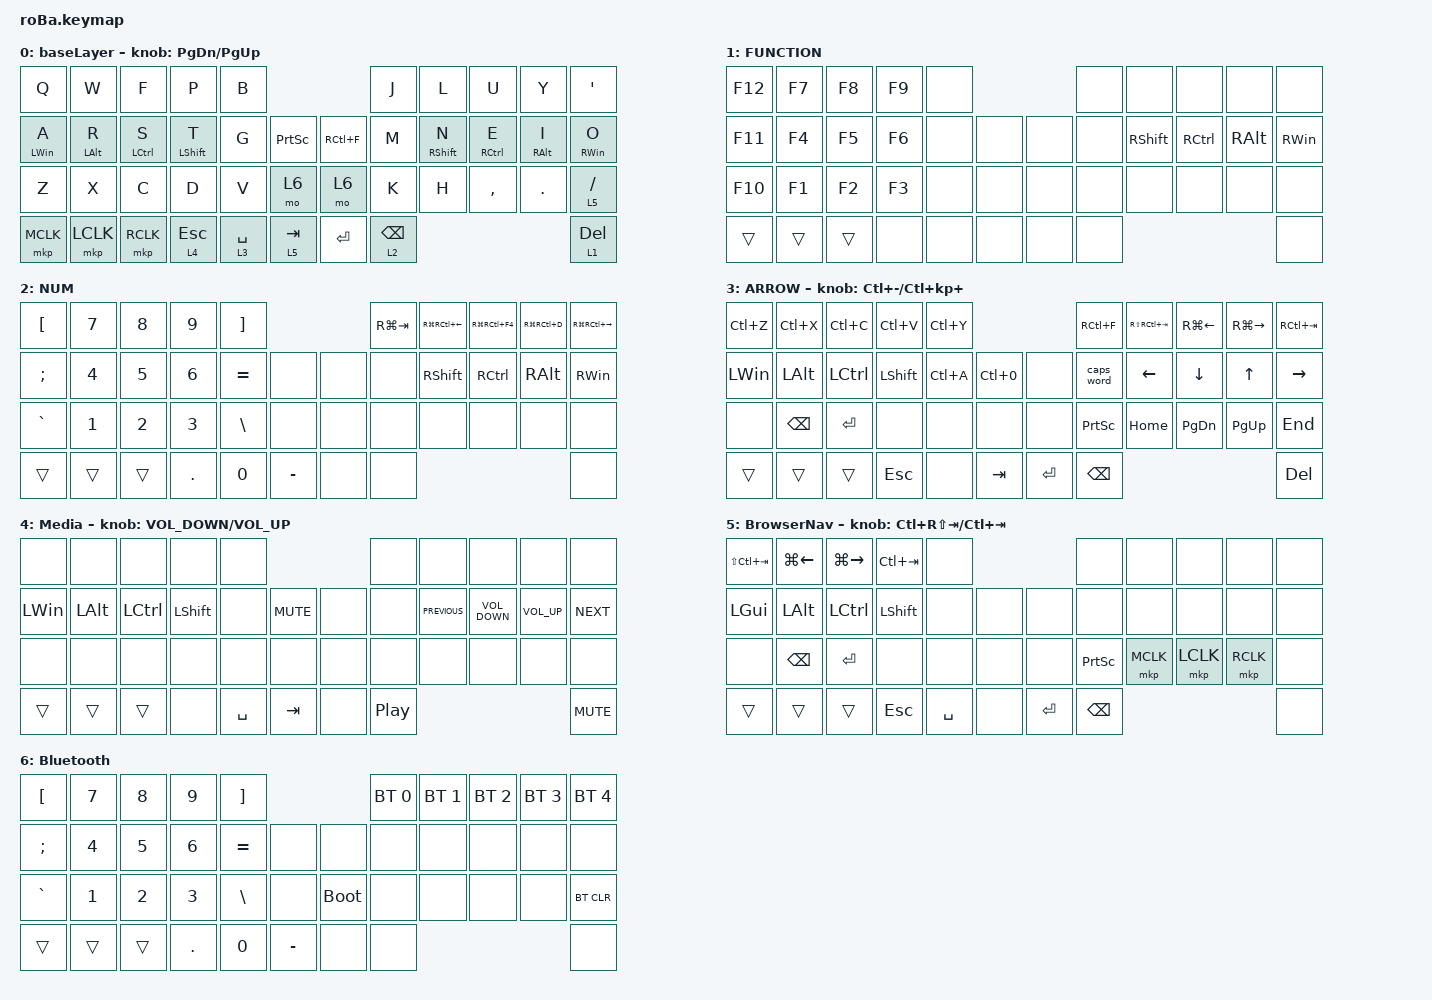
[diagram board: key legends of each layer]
#include <behaviors.dtsi>
#include <dt-bindings/zmk/bt.h>
#include <dt-bindings/zmk/keys.h>
#include <dt-bindings/zmk/pointing.h>

&mt {
    flavor = "balanced";
    quick-tap-ms = <40>;
};

&trackball {
    //    automouse-layer = <4>;

    scroll-layers = <1>;

    // arrows {
    //     layers = <3>;
    //     bindings =
    //         <&kp RIGHT_ARROW>,
    //         <&kp LEFT_ARROW>,
    //         <&kp UP_ARROW>,
    //         <&kp DOWN_ARROW>;
    //     tick = <10>;
    //     wait-ms = <5>;
    //     tap-ms = <5>;
    // };
};

/ {
    combos { compatible = "zmk,combos"; };

    macros {
        to_layer_0: to_layer_0 {
            compatible = "zmk,behavior-macro-one-param";
            #binding-cells = <1>;
            bindings = <&to 0 &macro_param_1to1 &kp MACRO_PLACEHOLDER>;
            label = "TO_LAYER_0";
        };
    };

    behaviors {
        lt_to_layer_0: lt_to_layer_0 {
            compatible = "zmk,behavior-hold-tap";
            label = "LAYER_TAP_TO_0";
            bindings = <&mo>, <&to_layer_0>;

            #binding-cells = <2>;
            tapping-term-ms = <200>;
        };
    };

    keymap {
        compatible = "zmk,keymap";

        baseLayer {
            bindings = <
&kp Q           &kp W           &kp F        &kp P             &kp B                                        &kp J            &kp L              &kp U        &kp Y            &kp SQT
&mt LEFT_WIN A  &mt LEFT_ALT R  &mt LCTRL S  &mt LEFT_SHIFT T  &kp G        &kp PRINTSCREEN      &kp RC(F)  &kp M            &mt RIGHT_SHIFT N  &mt RCTRL E  &mt RIGHT_ALT I  &mt RIGHT_WIN O
&kp Z           &kp X           &kp C        &kp D             &kp V        &mo 6                &mo 6      &kp K            &kp H              &kp COMMA    &kp DOT          &lt 5 SLASH
&mkp MCLK       &mkp LCLK       &mkp RCLK    &lt 4 ESC         &lt 3 SPACE  &lt 5 TAB            &kp ENTER  &lt 2 BACKSPACE                                                   &lt 1 DELETE
            >;

            sensor-bindings = <&inc_dec_kp PAGE_DOWN PAGE_UP>;
        };

        FUNCTION {
            bindings = <
&kp F12  &kp F7  &kp F8  &kp F9  &none                    &none  &none            &none      &none          &none
&kp F11  &kp F4  &kp F5  &kp F6  &none  &none      &none  &none  &kp RIGHT_SHIFT  &kp RCTRL  &kp RIGHT_ALT  &kp RIGHT_WIN
&kp F10  &kp F1  &kp F2  &kp F3  &none  &none      &none  &none  &none            &none      &none          &none
&trans   &trans  &trans  &none   &none  &none      &none  &none                                             &none
            >;
        };

        NUM {
            bindings = <
&kp LEFT_BRACKET  &kp N7        &kp N8        &kp N9        &kp RIGHT_BRACKET                        &kp RG(TAB)  &kp RG(RC(LEFT_ARROW))  &kp RG(RC(F4))  &kp RG(RC(D))  &kp RG(RC(RIGHT))
&kp SEMICOLON     &kp NUMBER_4  &kp N5        &kp NUMBER_6  &kp EQUAL          &none          &none  &none        &kp RSHIFT              &kp RCTRL       &kp RIGHT_ALT  &kp RIGHT_WIN
&kp GRAVE         &kp NUMBER_1  &kp NUMBER_2  &kp NUMBER_3  &kp BACKSLASH      &none          &none  &none        &none                   &none           &none          &none
&trans            &trans        &trans        &kp DOT       &kp N0             &kp MINUS      &none  &none                                                               &none
            >;
        };

        ARROW {
            bindings = <
&kp LC(Z)     &kp LC(X)      &kp LC(C)  &kp LC(V)       &kp LC(Y)                                   &kp RC(F)        &kp RS(RC(TAB))  &kp RG(LEFT)    &kp RG(RIGHT)  &kp RC(TAB)
&kp LEFT_WIN  &kp LEFT_ALT   &kp LCTRL  &kp LEFT_SHIFT  &kp LC(A)  &kp LC(NUMBER_0)      &none      &caps_word       &kp LEFT         &kp DOWN_ARROW  &kp UP         &kp RIGHT
&none         &kp BACKSPACE  &kp ENTER  &none           &none      &none                 &none      &kp PRINTSCREEN  &kp HOME         &kp PAGE_DOWN   &kp PG_UP      &kp END
&trans        &trans         &trans     &kp ESC         &none      &kp TAB               &kp ENTER  &kp BACKSPACE                                                    &kp DEL
            >;

            sensor-bindings = <&inc_dec_kp LC(MINUS) LC(KP_PLUS)>;
        };

        Media {
            bindings = <
&none         &none         &none      &none           &none                             &none             &none           &none              &none            &none
&kp LEFT_WIN  &kp LEFT_ALT  &kp LCTRL  &kp LEFT_SHIFT  &none      &kp C_MUTE      &none  &none             &kp C_PREVIOUS  &kp C_VOLUME_DOWN  &kp C_VOLUME_UP  &kp C_NEXT
&none         &none         &none      &none           &none      &none           &none  &none             &none           &none              &none            &none
&trans        &trans        &trans     &none           &kp SPACE  &kp TAB         &none  &kp C_PLAY_PAUSE                                                      &kp C_MUTE
            >;

            sensor-bindings = <&inc_dec_kp C_VOLUME_DOWN C_VOLUME_UP>;
        };

        BrowserNav {
            bindings = <
&kp LS(LC(TAB))  &kp LG(LEFT)  &kp LG(RIGHT)  &kp LC(TAB)  &none                            &none            &none      &none      &none      &none
&kp LGUI         &kp LALT      &kp LCTRL      &kp LSHFT    &none      &none      &none      &none            &none      &none      &none      &none
&none            &kp BSPC      &kp ENTER      &none        &none      &none      &none      &kp PRINTSCREEN  &mkp MCLK  &mkp LCLK  &mkp RCLK  &none
&trans           &trans        &trans         &kp ESC      &kp SPACE  &none      &kp ENTER  &kp BSPC                                          &none
            >;

            sensor-bindings = <&inc_dec_kp LC(RS(TAB)) LC(TAB)>;
        };

        Bluetooth {
            bindings = <
&kp LEFT_BRACKET  &kp NUMBER_7  &kp NUMBER_8  &kp NUMBER_9  &kp RIGHT_BRACKET                              &bt BT_SEL 0  &bt BT_SEL 1  &bt BT_SEL 2  &bt BT_SEL 3  &bt BT_SEL 4
&kp SEMICOLON     &kp NUMBER_4  &kp NUMBER_5  &kp NUMBER_6  &kp EQUAL          &none          &none        &none         &none         &none         &none         &none
&kp GRAVE         &kp NUMBER_1  &kp NUMBER_2  &kp NUMBER_3  &kp BACKSLASH      &none          &bootloader  &none         &none         &none         &none         &bt BT_CLR
&trans            &trans        &trans        &kp PERIOD    &kp NUMBER_0       &kp MINUS      &none        &none                                                   &none
            >;
        };
    };
};
